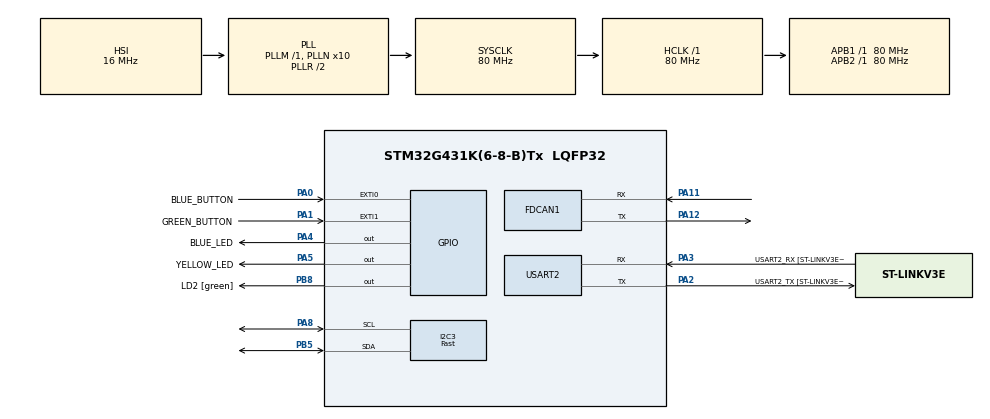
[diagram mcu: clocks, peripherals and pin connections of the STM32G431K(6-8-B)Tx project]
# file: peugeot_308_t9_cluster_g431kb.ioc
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ADC1.Channel-0\#ChannelRegularConversion=ADC_CHANNEL_TEMPSENSOR_ADC1
ADC1.Channel-1\#ChannelRegularConversion=ADC_CHANNEL_VREFINT
ADC1.ContinuousConvMode=ENABLE
ADC1.DMAContinuousRequests=ENABLE
ADC1.ExternalTrigConv=ADC_EXTERNALTRIG_T3_TRGO
ADC1.NbrOfConversion=2
ADC1.NbrOfConversionFlag=1
ADC1.OffsetNumber-0\#ChannelRegularConversion=ADC_OFFSET_NONE
ADC1.OffsetNumber-1\#ChannelRegularConversion=ADC_OFFSET_NONE
ADC1.Rank-0\#ChannelRegularConversion=1
ADC1.Rank-1\#ChannelRegularConversion=2
ADC1.SamplingTime-0\#ChannelRegularConversion=ADC_SAMPLETIME_640CYCLES_5
ADC1.SamplingTime-1\#ChannelRegularConversion=ADC_SAMPLETIME_640CYCLES_5
ADC1.master=1
Dma.ADC1.0.Direction=DMA_PERIPH_TO_MEMORY
Dma.ADC1.0.EventEnable=DISABLE
Dma.ADC1.0.Instance=DMA1_Channel1
Dma.ADC1.0.MemDataAlignment=DMA_MDATAALIGN_HALFWORD
Dma.ADC1.0.MemInc=DMA_MINC_ENABLE
Dma.ADC1.0.Mode=DMA_CIRCULAR
Dma.ADC1.0.PeriphDataAlignment=DMA_PDATAALIGN_HALFWORD
Dma.ADC1.0.PeriphInc=DMA_PINC_DISABLE
Dma.ADC1.0.Polarity=HAL_DMAMUX_REQ_GEN_RISING
Dma.ADC1.0.Priority=DMA_PRIORITY_LOW
Dma.ADC1.0.RequestNumber=1
Dma.ADC1.0.SignalID=NONE
Dma.ADC1.0.SyncEnable=DISABLE
Dma.ADC1.0.SyncPolarity=HAL_DMAMUX_SYNC_NO_EVENT
Dma.ADC1.0.SyncRequestNumber=1
Dma.ADC1.0.SyncSignalID=NONE
Dma.Request0=ADC1
FDCAN1.AutoRetransmission=DISABLE
FDCAN1.CalculateBaudRateNominal=125000
FDCAN1.CalculateTimeBitNominal=8000
FDCAN1.CalculateTimeQuantumNominal=500.0
FDCAN1.ClockDivider=FDCAN_CLOCK_DIV1
FDCAN1.DataPrescaler=10
FDCAN1.DataSyncJumpWidth=1
FDCAN1.DataTimeSeg1=13
FDCAN1.DataTimeSeg2=2
FDCAN1.NominalPrescaler=40
FDCAN1.NominalSyncJumpWidth=1
FDCAN1.NominalTimeSeg1=13
FDCAN1.NominalTimeSeg2=2
FDCAN1.StdFiltersNbr=1
I2C3.I2C_Fall_Time=10
I2C3.I2C_Rise_Time=10
I2C3.I2C_Speed_Mode=I2C_Fast
I2C3.Timing=0x0080298F
Mcu.Family=STM32G4
Mcu.Name=STM32G431K(6-8-B)Tx
Mcu.Package=LQFP32
NVIC.ADC1_2_IRQn=true\:0\:0\:false\:false\:true\:true\:true\:true
NVIC.DMA1_Channel1_IRQn=true\:0\:0\:false\:false\:true\:false\:true\:true
NVIC.EXTI1_IRQn=true\:0\:0\:false\:false\:true\:true\:true\:true
NVIC.FDCAN1_IT0_IRQn=true\:0\:0\:false\:false\:true\:true\:true\:true
NVIC.PriorityGroup=NVIC_PRIORITYGROUP_4
PA0.GPIO_Label=BLUE_BUTTON
PA0.GPIO_ModeDefaultEXTI=GPIO_MODE_IT_FALLING
PA0.GPIO_PuPd=GPIO_PULLUP
PA0.Signal=GPXTI0
PA1.GPIO_Label=GREEN_BUTTON
PA1.GPIO_ModeDefaultEXTI=GPIO_MODE_IT_FALLING
PA1.GPIO_PuPd=GPIO_PULLUP
PA1.Signal=GPXTI1
PA11.Mode=FDCAN_Activate
PA11.Signal=FDCAN1_RX
PA12.Mode=FDCAN_Activate
PA12.Signal=FDCAN1_TX
PA13.GPIO_Label=T_SWDIO
PA13.Mode=Serial_Wire
PA13.Signal=SYS_JTMS-SWDIO
PA14.GPIO_Label=T_SWCLK
PA14.Mode=Serial_Wire
PA14.Signal=SYS_JTCK-SWCLK
PA2.GPIO_Label=USART2_TX [ST-LINKV3E_VCP_RX]
PA2.Mode=Asynchronous
PA2.Signal=USART2_TX
PA3.GPIO_Label=USART2_RX [ST-LINKV3E_VCP_TX]
PA3.Mode=Asynchronous
PA3.Signal=USART2_RX
PA4.GPIO_Label=BLUE_LED
PA4.Signal=GPIO_Output
PA5.GPIO_Label=YELLOW_LED
PA5.Signal=GPIO_Output
PA8.Mode=I2C
PA8.Signal=I2C3_SCL
PB3.GPIO_Label=T_SWO
PB3.Signal=SYS_JTDO-SWO
PB5.Mode=I2C
PB5.Signal=I2C3_SDA
PB8-BOOT0.GPIO_Label=LD2 [green]
PB8-BOOT0.Signal=GPIO_Output
ProjectManager.HeapSize=0x200
ProjectManager.StackSize=0x400
ProjectManager.TargetToolchain=STM32CubeIDE
RCC.ADC12Freq_Value=80000000
RCC.AHBFreq_Value=80000000
RCC.APB1Freq_Value=80000000
RCC.APB1TimFreq_Value=80000000
RCC.APB2Freq_Value=80000000
RCC.APB2TimFreq_Value=80000000
RCC.CK48CLockSelection=RCC_USBCLKSOURCE_HSI48
RCC.CortexFreq_Value=80000000
RCC.EXTERNAL_CLOCK_VALUE=12288000
RCC.HCLKFreq_Value=80000000
RCC.HSE_VALUE=8000000
RCC.HSI48_VALUE=48000000
RCC.HSI_VALUE=16000000
RCC.LSE_VALUE=32768
RCC.PLLN=10
RCC.PLLQ=RCC_PLLQ_DIV4
RCC.SYSCLKFreq_VALUE=80000000
RCC.SYSCLKSource=RCC_SYSCLKSOURCE_PLLCLK
RCC.USBFreq_Value=48000000
RCC.VCOOutputFreq_Value=160000000
TIM3.PeriodNoDither=10000-1
TIM3.Prescaler=1000-1
TIM3.TIM_MasterOutputTrigger=TIM_TRGO_UPDATE
USART2.VirtualMode-Asynchronous=VM_ASYNC
USART2.WordLength=WORDLENGTH_8B
VP_ADC1_TempSens_Input.Mode=IN-TempSens
VP_ADC1_Vref_Input.Mode=IN-Vrefint
VP_SYS_VS_DBSignals.Mode=DisableDeadBatterySignals
VP_TIM3_VS_ClockSourceINT.Mode=Internal
board=NUCLEO-G431KB

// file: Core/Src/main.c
/* USER CODE BEGIN Header */
/** https://autowp.github.io/
 ******************************************************************************
 * @file           : main.c
 * @brief          : Main program body
 ******************************************************************************
 * @attention
 *
 * Copyright (c) 2024 STMicroelectronics.
 * All rights reserved.
 *
 * This software is licensed under terms that can be found in the LICENSE file
 * in the root directory of this software component.
 * If no LICENSE file comes with this software, it is provided AS-IS.
 *
 ******************************************************************************
 */
/* USER CODE END Header */
#include "main.h"
#include "adc.h"
#include "dma.h"
#include "fdcan.h"
#include "i2c.h"
#include "tim.h"
#include "usart.h"
#include "gpio.h"

/* USER CODE BEGIN Includes */
#include <stdio.h>
#include <stdlib.h>
#include <string.h>
#include <math.h>
#include "peugeot_308_t9.h"
#include "ssd1306.h"

//#define USE_INTERNAL_TEMP_SENSOR

#ifdef USE_INTERNAL_TEMP_SENSOR
#include "internal_temp_sensor.h"
#endif
/* USER CODE END Includes */

/* USER CODE BEGIN PD */
#define MPH2KPH 1.609344

#define CAN_MSG_REPEAT_PERIOD 100
#define CAN_MSG_TIME_INTERVAL 1

#define ENGINE_SPEED_MAX 5600 // rpm
#define ENGINE_SPEED_INCREMENT 70
#define ENGINE_SPEED_DECREMENT 200
#define VEHICLE_SPEED_MAX ((uint16_t)(round(127*MPH2KPH))) // km/h
#define VEHICLE_SPEED_INCREMENT 1
#define ENGINE_SPEED_GEAR_SHIFT 4500 // rpm
#define COOLANT_TEMPERATURE 70 // degC
#define FUEL_LEVEL 75 // %
#define ODOMETER (308*MPH2KPH) // km

#define DELAYED_START_INTERVAL 4000

#define SEND_ALL_CONSECUTIVE_IDS
#define BEGINING_FROM_ID 0
#define PATTERN_TO_BE_SEND   0x55
#define FDCAN_DLC_BYTES_MIN 2
#define FDCAN_DLC_BYTES_MAX 8

/* USER CODE END PD */

/* USER CODE BEGIN PV */
FDCAN_RxHeaderTypeDef RxHeader;
uint8_t RxData[8];

FDCAN_TxHeaderTypeDef TxHeader;
uint8_t TxData8[8];

uint32_t TxMailbox;

uint16_t vehicle_speed = 0;
uint16_t engine_speed = 0;
uint8_t gear_number;

uint8_t engine_speed_down;

uint32_t CanMsgSoftTimer50;
uint32_t CanMsgSoftTimer100;
uint32_t CanMsgSoftTimer200;
uint32_t CanMsgSoftTimer500;
uint32_t CanMsgSoftTimer;
uint32_t DelayedStartSoftTimer;

volatile uint8_t green_button_flag = 0;

uint16_t msg_id = BEGINING_FROM_ID;

char lcd_line[128];

#ifdef USE_INTERNAL_TEMP_SENSOR
typedef struct AdcValues
{
	uint16_t Raw[2]; /* Raw values from ADC */
	int32_t IntSensTmp; /* Temperature */
} adcval_t;

adcval_t Adc;

typedef struct Flags
{
	uint8_t ADCCMPLT;
} flag_t;

flag_t Flg =
{ 0, };
#endif
/* USER CODE END PV */

void SystemClock_Config(void);
/* USER CODE BEGIN PFP */

void CalculateRpmSpeed(void);

/* USER CODE END PFP */

int main(void)
{

  /* MCU Configuration--------------------------------------------------------*/

  /* Reset of all peripherals, Initializes the Flash interface and the Systick. */
  HAL_Init();

  /* Configure the system clock */
  SystemClock_Config();

  /* Initialize all configured peripherals */
  MX_GPIO_Init();
  MX_DMA_Init();
  MX_USART2_UART_Init();
  MX_FDCAN1_Init();
  MX_I2C3_Init();
  MX_ADC1_Init();
  MX_TIM3_Init();
  /* USER CODE BEGIN 2 */

#ifdef USE_INTERNAL_TEMP_SENSOR
	HAL_ADCEx_Calibration_Start(&hadc1, ADC_SINGLE_ENDED);
	HAL_ADC_Start_DMA(&hadc1, (uint32_t*) Adc.Raw, 2);
	HAL_TIM_Base_Start(&htim3); /* This timer starts ADC conversion */
#endif

	ssd1306_Init();
	ssd1306_Fill(Black);
	ssd1306_SetCursor(20, 0);
	ssd1306_WriteString("ufnalski.edu.pl", Font_6x8, White);
	ssd1306_SetCursor(2, 11);
	ssd1306_WriteString("Peugeot 308 T9 2015", Font_6x8, White);
	ssd1306_SetCursor(10, 22);
	ssd1306_WriteString("Instrument cluster", Font_6x8, White);
	ssd1306_SetCursor(12, 33);
	ssd1306_WriteString("CAN bus hacking", Font_6x8, White);
	ssd1306_UpdateScreen();

	HAL_FDCAN_ConfigGlobalFilter(&hfdcan1, FDCAN_REJECT, FDCAN_REJECT,
	FDCAN_REJECT_REMOTE, FDCAN_REJECT_REMOTE);

	if (HAL_FDCAN_Start(&hfdcan1) != HAL_OK)
	{
		Error_Handler();
	}

	if (HAL_FDCAN_ActivateNotification(&hfdcan1, FDCAN_IT_RX_FIFO0_NEW_MESSAGE,
			0) != HAL_OK)
	{
		/* Notification Error */
		Error_Handler();
	}

	TxHeader.IdType = FDCAN_STANDARD_ID;
	TxHeader.TxFrameType = FDCAN_DATA_FRAME;
	TxHeader.ErrorStateIndicator = FDCAN_ESI_ACTIVE;
	TxHeader.BitRateSwitch = FDCAN_BRS_ON;
	TxHeader.FDFormat = FDCAN_FD_CAN;
	TxHeader.TxEventFifoControl = FDCAN_NO_TX_EVENTS;
	TxHeader.MessageMarker = 0;

	CanMsgSoftTimer50 = HAL_GetTick();
	CanMsgSoftTimer100 = HAL_GetTick();
	CanMsgSoftTimer200 = HAL_GetTick();
	CanMsgSoftTimer500 = HAL_GetTick();
	CanMsgSoftTimer = HAL_GetTick();
	DelayedStartSoftTimer = HAL_GetTick();

	memset(RxData, 0xFF, sizeof(RxData));
  /* USER CODE END 2 */

  /* Infinite loop */
  /* USER CODE BEGIN WHILE */

	while (1)
	{
// every 50 ms
		if (HAL_GetTick() - CanMsgSoftTimer50 > 50)
		{
			CanMsgSoftTimer50 = HAL_GetTick();
			send_rpm_and_speed(engine_speed, vehicle_speed,
			CAN_MSG_TIME_INTERVAL);
		}
// every 100 ms
		if (HAL_GetTick() - CanMsgSoftTimer100 > 100)
		{
			CanMsgSoftTimer100 = HAL_GetTick();
			send_ignition_on((RxData[0]) >> 4, CAN_MSG_TIME_INTERVAL);
		}
// every 200 ms
		if (HAL_GetTick() - CanMsgSoftTimer200 > 200)
		{
			CanMsgSoftTimer200 = HAL_GetTick();
			if (HAL_GetTick() - DelayedStartSoftTimer > DELAYED_START_INTERVAL)
			{
				CalculateRpmSpeed();
				send_christmas_lights(CAN_MSG_TIME_INTERVAL);
				send_trip_distance(CAN_MSG_TIME_INTERVAL);
			}
		}
// every 500 ms
		if (HAL_GetTick() - CanMsgSoftTimer500 > 500)
		{
			CanMsgSoftTimer500 = HAL_GetTick();
			send_odometer(COOLANT_TEMPERATURE, ODOMETER, CAN_MSG_TIME_INTERVAL);
			send_fuel_level(FUEL_LEVEL, CAN_MSG_TIME_INTERVAL);
		}

#ifdef SEND_ALL_CONSECUTIVE_IDS
		if ((HAL_GetTick() - CanMsgSoftTimer > CAN_MSG_REPEAT_PERIOD)
				&& (msg_id <= 0x7FF))
		{
			CanMsgSoftTimer = HAL_GetTick();

			for (uint32_t msg_length = FDCAN_DLC_BYTES_MAX;
					msg_length >= FDCAN_DLC_BYTES_MIN; msg_length--)
			{
				HAL_Delay(CAN_MSG_TIME_INTERVAL);
				TxHeader.DataLength = msg_length;
				TxHeader.Identifier = msg_id;
				memset(TxData8, PATTERN_TO_BE_SEND, sizeof(TxData8));
				if (HAL_FDCAN_AddMessageToTxFifoQ(&hfdcan1, &TxHeader, TxData8)
						!= HAL_OK)
				{
					Error_Handler();
				}
			}

			msg_id++;

#ifdef USE_INTERNAL_TEMP_SENSOR
			if (Flg.ADCCMPLT) /* Conversion completed, do calculations */
			{
				/* Temperature Sensor ADC-value, Reference Voltage ADC-value (if use) */
				Adc.IntSensTmp = TMPSENSOR_getTemperature(Adc.Raw[0],
						Adc.Raw[1]);

				Flg.ADCCMPLT = 0; /* Nullify flag */

			}
			sprintf(lcd_line, "uC temp.: %ld deg. C ", Adc.IntSensTmp);
			ssd1306_SetCursor(2, 45);
			ssd1306_WriteString(lcd_line, Font_6x8, White);
#endif
			sprintf(lcd_line, "Brightness: %d  ", (RxData[0]) >> 4);
			ssd1306_SetCursor(16, 45);
			ssd1306_WriteString(lcd_line, Font_6x8, White);

			sprintf(lcd_line, "Message ID: %u    ", msg_id - 1);
			ssd1306_SetCursor(16, 56);
			ssd1306_WriteString(lcd_line, Font_6x8, White);

			ssd1306_UpdateScreen(); // adds 100 ms at 100 kHz I2C!!!
			HAL_GPIO_TogglePin(BLUE_LED_GPIO_Port,
			BLUE_LED_Pin);
		}
#endif

    /* USER CODE END WHILE */

	}
}

void SystemClock_Config(void)
{
  RCC_OscInitTypeDef RCC_OscInitStruct = {0};
  RCC_ClkInitTypeDef RCC_ClkInitStruct = {0};

  /** Configure the main internal regulator output voltage
  */
  HAL_PWREx_ControlVoltageScaling(PWR_REGULATOR_VOLTAGE_SCALE1);

  /** Initializes the RCC Oscillators according to the specified parameters
  * in the RCC_OscInitTypeDef structure.
  */
  RCC_OscInitStruct.OscillatorType = RCC_OSCILLATORTYPE_HSI;
  RCC_OscInitStruct.HSIState = RCC_HSI_ON;
  RCC_OscInitStruct.HSICalibrationValue = RCC_HSICALIBRATION_DEFAULT;
  RCC_OscInitStruct.PLL.PLLState = RCC_PLL_ON;
  RCC_OscInitStruct.PLL.PLLSource = RCC_PLLSOURCE_HSI;
  RCC_OscInitStruct.PLL.PLLM = RCC_PLLM_DIV1;
  RCC_OscInitStruct.PLL.PLLN = 10;
  RCC_OscInitStruct.PLL.PLLP = RCC_PLLP_DIV2;
  RCC_OscInitStruct.PLL.PLLQ = RCC_PLLQ_DIV4;
  RCC_OscInitStruct.PLL.PLLR = RCC_PLLR_DIV2;
  if (HAL_RCC_OscConfig(&RCC_OscInitStruct) != HAL_OK)
  {
    Error_Handler();
  }

  /** Initializes the CPU, AHB and APB buses clocks
  */
  RCC_ClkInitStruct.ClockType = RCC_CLOCKTYPE_HCLK|RCC_CLOCKTYPE_SYSCLK
                              |RCC_CLOCKTYPE_PCLK1|RCC_CLOCKTYPE_PCLK2;
  RCC_ClkInitStruct.SYSCLKSource = RCC_SYSCLKSOURCE_PLLCLK;
  RCC_ClkInitStruct.AHBCLKDivider = RCC_SYSCLK_DIV1;
  RCC_ClkInitStruct.APB1CLKDivider = RCC_HCLK_DIV1;
  RCC_ClkInitStruct.APB2CLKDivider = RCC_HCLK_DIV1;

  if (HAL_RCC_ClockConfig(&RCC_ClkInitStruct, FLASH_LATENCY_2) != HAL_OK)
  {
    Error_Handler();
  }
}

/* USER CODE BEGIN 4 */
#ifdef USE_INTERNAL_TEMP_SENSOR
void HAL_ADC_ConvCpltCallback(ADC_HandleTypeDef *hadc)
{
	if (hadc->Instance == ADC1) /* Check if the interrupt comes from ACD1 */
	{
		/* Set flag to true */
		Flg.ADCCMPLT = 0xFF;
	}
}
#endif

void HAL_FDCAN_RxFifo0Callback(FDCAN_HandleTypeDef *hfdcan, uint32_t RxFifo0ITs)
{
	if ((RxFifo0ITs & FDCAN_IT_RX_FIFO0_NEW_MESSAGE) != RESET)
	{
		/* Retreive Rx messages from RX FIFO0 */
		if (HAL_FDCAN_GetRxMessage(hfdcan, FDCAN_RX_FIFO0, &RxHeader, RxData)
				!= HAL_OK)
		{
			/* Reception Error */
			Error_Handler();
		}

		if (HAL_FDCAN_ActivateNotification(hfdcan,
		FDCAN_IT_RX_FIFO0_NEW_MESSAGE, 0) != HAL_OK)
		{
			/* Notification Error */
			Error_Handler();
		}
		else
		{
			HAL_GPIO_TogglePin(YELLOW_LED_GPIO_Port,
			YELLOW_LED_Pin);
		}
	}
}

void HAL_GPIO_EXTI_Callback(uint16_t GPIO_Pin)
{
	if (GPIO_Pin == GREEN_BUTTON_Pin)
	{
		green_button_flag = 1;
	}
}

void CalculateRpmSpeed(void)
{
	if (!engine_speed_down)
	{
		if (engine_speed < ENGINE_SPEED_MAX - ENGINE_SPEED_INCREMENT)
		{
			engine_speed = engine_speed + ENGINE_SPEED_INCREMENT;

		}
		else if (gear_number < 5)
		{
			engine_speed_down = 1;
			gear_number++;
		}
		else
		{
			;
		}
	}
	else
	{
		if (engine_speed > ENGINE_SPEED_GEAR_SHIFT)
		{
			engine_speed = engine_speed - ENGINE_SPEED_DECREMENT;
		}
		else
		{
			engine_speed_down = 0;
		}
	}

	if (vehicle_speed < VEHICLE_SPEED_MAX - VEHICLE_SPEED_INCREMENT)
	{
		vehicle_speed = vehicle_speed + VEHICLE_SPEED_INCREMENT;
	}
}

/* USER CODE END 4 */

void Error_Handler(void)
{
	__disable_irq();
	while (1)
	{
	}
}
